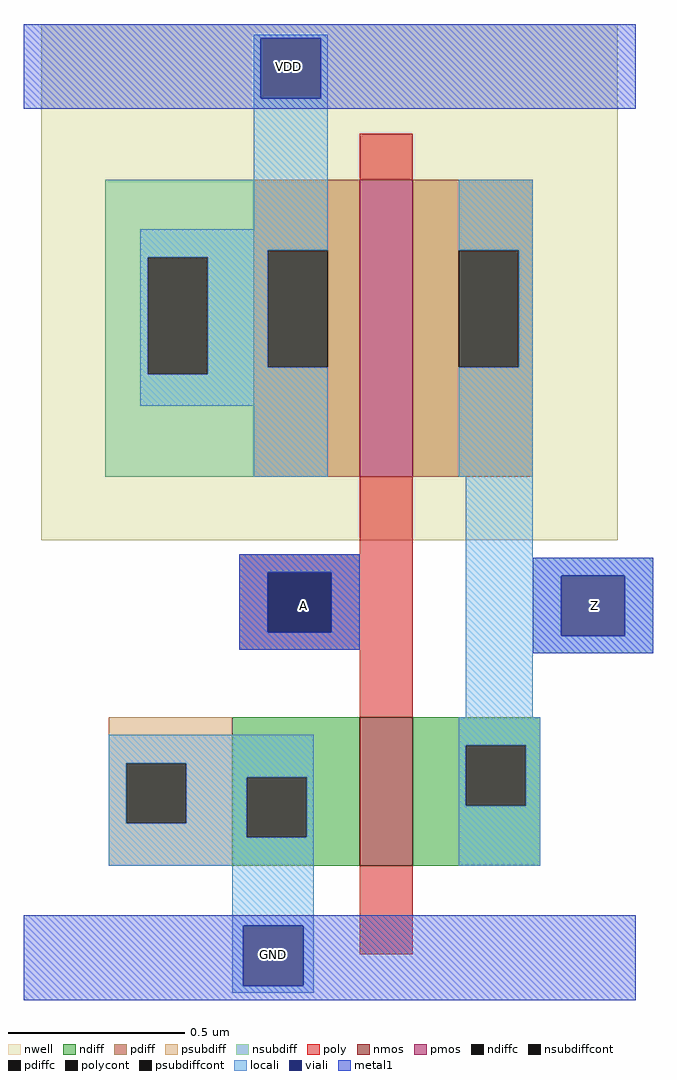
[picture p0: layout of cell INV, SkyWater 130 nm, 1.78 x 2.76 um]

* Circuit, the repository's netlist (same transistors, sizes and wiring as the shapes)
* INV spice netlist
.subckt INV A Z vdd gnd
X1 Z A vdd vdd sky130_fd_pr__pfet_01v8 w=0.84 l=0.15
X0 Z A gnd gnd sky130_fd_pr__nfet_01v8 w=0.42 l=0.15
.ends

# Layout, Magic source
magic
tech sky130A
<< nwell >>
rect -56 -48 107 98
<< nmos >>
rect 34 -140 49 -98
<< pmos >>
rect 34 -30 49 54
<< ndiff >>
rect -2 -115 34 -98
rect -2 -132 2 -115
rect 19 -132 34 -115
rect -2 -140 34 -132
rect 49 -106 85 -98
rect 49 -123 64 -106
rect 81 -123 85 -106
rect 49 -140 85 -123
<< pdiff >>
rect 4 34 34 54
rect 4 1 8 34
rect 25 1 34 34
rect 4 -30 34 1
rect 49 34 83 54
rect 49 1 62 34
rect 79 1 83 34
rect 49 -30 83 1
<< ndiffc >>
rect 2 -132 19 -115
rect 64 -123 81 -106
<< pdiffc >>
rect 8 1 25 34
rect 62 1 79 34
<< psubdiff >>
rect -37 -111 -2 -98
rect -37 -128 -32 -111
rect -15 -128 -2 -111
rect -37 -140 -2 -128
<< nsubdiff >>
rect -38 32 4 54
rect -38 -1 -26 32
rect -9 -1 4 32
rect -38 -30 4 -1
<< psubdiffcont >>
rect -32 -128 -15 -111
<< nsubdiffcont >>
rect -26 -1 -9 32
<< poly >>
rect 34 54 49 67
rect 34 -52 49 -30
rect 0 -57 49 -52
rect 0 -74 8 -57
rect 26 -74 49 -57
rect 0 -79 49 -74
rect 34 -98 49 -79
rect 34 -165 49 -140
<< polycont >>
rect 8 -74 26 -57
<< locali >>
rect 4 94 25 95
rect 4 77 6 94
rect 23 77 25 94
rect 4 40 25 77
rect -28 34 25 40
rect -28 32 8 34
rect -28 -1 -26 32
rect -9 1 8 32
rect -9 -1 25 1
rect -28 -10 25 -1
rect 4 -30 25 -10
rect 62 34 83 54
rect 79 1 83 34
rect 62 -30 83 1
rect 0 -57 34 -52
rect 0 -74 8 -57
rect 26 -74 34 -57
rect 0 -79 34 -74
rect 64 -53 83 -30
rect 64 -58 117 -53
rect 64 -75 91 -58
rect 109 -75 117 -58
rect 64 -80 117 -75
rect 64 -98 83 -80
rect -37 -111 21 -103
rect -37 -128 -32 -111
rect -15 -115 21 -111
rect -15 -128 2 -115
rect -37 -132 2 -128
rect 19 -132 21 -115
rect -37 -140 21 -132
rect 62 -106 85 -98
rect 62 -123 64 -106
rect 81 -123 85 -106
rect 62 -140 85 -123
rect -2 -157 21 -140
rect -2 -174 1 -157
rect 18 -174 21 -157
rect -2 -176 21 -174
<< viali >>
rect 6 77 23 94
rect 8 -74 26 -57
rect 91 -75 109 -58
rect 1 -174 18 -157
<< metal1 >>
rect -61 94 112 98
rect -61 77 6 94
rect 23 77 112 94
rect -61 74 112 77
rect 0 -57 34 -52
rect 0 -74 8 -57
rect 26 -74 34 -57
rect 0 -79 34 -74
rect 83 -58 117 -53
rect 83 -75 91 -58
rect 109 -75 117 -58
rect 83 -80 117 -75
rect -61 -157 112 -154
rect -61 -174 1 -157
rect 18 -174 112 -157
rect -61 -178 112 -174
<< labels >>
rlabel metal1 15 -70 21 -63 1 A
port 1 n
rlabel viali 97 -70 104 -63 1 Z
port 2 n
rlabel viali 12 84 16 88 1 VDD
port 5 n
rlabel viali 7 -168 12 -162 1 GND
port 6 n
<< end >>
